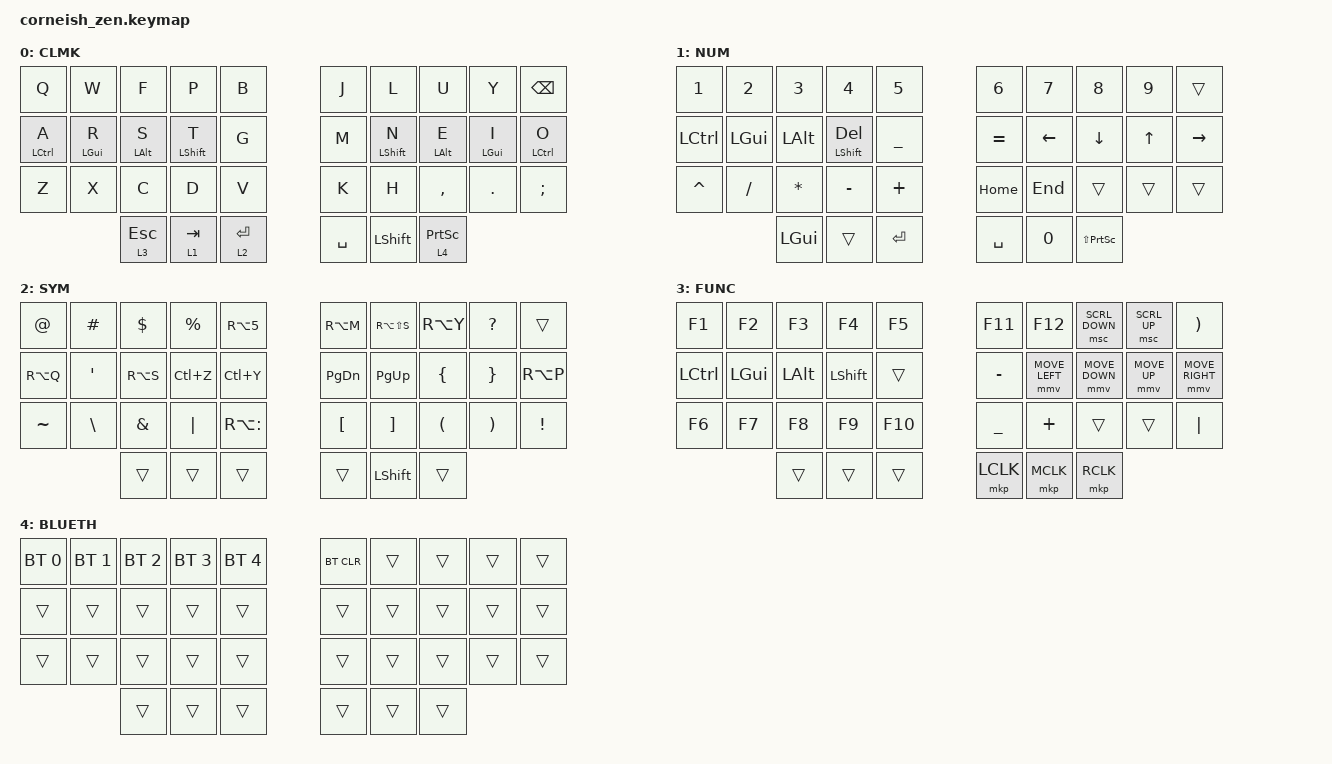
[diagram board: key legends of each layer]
#include <behaviors.dtsi>
#include <dt-bindings/zmk/keys.h>
#include <dt-bindings/zmk/bt.h>
#include <dt-bindings/zmk/pointing.h>

#define COMBO(NAME, BINDINGS, KEYPOS) \
  combo_##NAME { \
    timeout-ms = <50>; \
    bindings = <BINDINGS>; \
    key-positions = <KEYPOS>; \
    layers = <0>; \
  };

/ {
  chosen {
    //zmk,matrix_transform = &default_transform;
    zmk,matrix_transform = &five_column_transform;
  };
};

/ {

	combos {
  		compatible = "zmk,combos";
  
  		COMBO(copy, &kp LC(C), 21 22)
  		COMBO(cut, &kp LC(X), 21 23)
  		COMBO(paste, &kp LC(V), 22 23)
		COMBO(select_all, &kp LC(A), 1 2)
		COMBO(LR_bracket,&kp LBKT &kp RBKT &kp LEFT, 26 27)
		COMBO(LR_brace,&kp LBRC &kp RBRC &kp LEFT, 26 28)
		COMBO(LR_parenthesis,&kp LPAR &kp RPAR &kp LEFT, 27 28)
		};

	behaviors {
		hm: homerow_mods {
		    compatible = "zmk,behavior-hold-tap";
		    label = "HOMEROW_MODS";
		    #binding-cells = <2>;
		    flavor = "tap-preferred";
		    tapping-term-ms = <300>;
		    quick-tap-ms = <0>;		    
		    bindings = <&kp>, <&kp>;
		};

		lthp: layer-tap_hold_preferred {
		    compatible = "zmk,behavior-hold-tap";
		    label = "LAYER_TAP_HOLD_PREFERRED";
		    #binding-cells = <2>;
		    flavor = "hold-preferred";
		    tapping-term-ms = <500>;
		    quick-tap-ms = <125>;
		    bindings = <&mo>, <&kp>;
		};

		ltp: layer-tap_preferred {
		    compatible = "zmk,behavior-hold-tap";
		    label = "LAYER_TAP_PREFERRED";
		    #binding-cells = <2>;
		    flavor = "tap-preferred";
		    tapping-term-ms = <200>;
		    quick-tap-ms = <200>;
		    global-quick-tap;	
		    bindings = <&mo>, <&kp>;
		};

		mtp: mod_tap_preferred {
		    compatible = "zmk,behavior-hold-tap";
		    label = "MOD_TAP_PREFERRED";
		    #binding-cells = <2>;
		    flavor = "tap-preferred";
		    tapping-term-ms = <300>;
		    quick-tap-ms = <200>;
		    global-quick-tap;		    
		    bindings = <&kp>, <&kp>;
		};

	    };
        keymap {
                compatible = "zmk,keymap";

                default_layer {
                        label = "CLMK";
// -----------------------------------------------------------------------------------------
// |  Q  |  W  |  F  |  P  |  B  |   |  J  |  L  |  U  |  Y  | BKSP|
// |  A  |  R  |  S  |  T  |  G  |   |  M  |  N  |  E  |  I  |  O  |
// |  Z  |  X  |  C  |  D  |  V  |   |  K  |  H  |  ,  |  .  | SEMI|
//             |3/ESC|1/TAB|2/RET|   | SPC |LSHFT|4/PSCRN|
                        bindings = <
   &kp       Q &kp      W &kp      F &kp       P &kp B   &kp J &kp       L  &kp      U &kp Y      &kp BSPC
   &hm LCTRL A &hm LGUI R &hm LALT S &hm LSHFT T &kp G   &kp M &hm LSHFT N  &hm LALT E &hm LGUI I &hm LCTRL O
   &kp       Z &kp      X &kp      C &kp       D &kp V   &kp K &kp       H  &kp COMMA  &kp DOT    &kp SEMI
   &lthp 3 ESC &lthp 1 TAB &lthp 2 RET   &kp SPACE &kp LSHFT &ltp 4 PSCRN
                        >;
                };

                first_layer {
                        label = "NUM";
// -----------------------------------------------------------------------------------------
// |  1  |  2  |  3  |  4  |  5  |   |  6  |  7  |  8  |  9  | BKSP|
// |LCTRL| GUI | ALT | DEL |UNDER|   |  =  | LFT | DWN |  UP | RGT |
// |  ^  |  /  |  *  |  -  |  +  |   | HOME| END |  ,  |  .  | SEMI|
//             | GUI |     | RET |   | SPC |  0  |RePSCRN|
                        bindings = <
   &kp N1    &kp N2    &kp N3    &kp N4        &kp N5      &kp N6    &kp N7    &kp N8    &kp N9    &trans
   &kp LCTRL &kp LGUI  &kp LALT  &hm LSHFT DEL &kp UNDER   &kp EQUAL &kp LEFT  &kp DOWN  &kp UP    &kp RIGHT
   &kp CARET &kp SLASH &kp ASTRK &kp MINUS     &kp PLUS    &kp HOME  &kp END   &trans    &trans    &trans
                            &kp LGUI &trans    &kp RET     &kp SPACE &kp N0 &kp LS(PSCRN)
                        >;
                };

                second_layer {
                        label = "SYM";
// -----------------------------------------------------------------------------------------
// |  @  |  #  |  $  |  %   | EURO |   |  mu  | law| Ue  |  ?  | BKSP|
// | Ae  |  "  | SZ  | UNDO | REDO |   |PG_DN|PG_UP|  {  |  }  |  Oe |
// |  ~  |  \  |  &  |  "|" | deg  |   |  [  |  ]  |  (  |  )  |  !  |
//             | ESC |  TAB |      |   | SPC | SHFT |     |
                        bindings = <
   &kp AT    &kp HASH  &kp DLLR  &kp PRCNT &kp RA(N5)     &kp RA(M) &kp RA(LS(S)) &kp RA(Y) &kp QMARK &trans
   &kp RA(Q) &kp APOS  &kp RA(S) &kp LC(Z) &kp LC(Y)      &kp PG_DN &kp PG_UP     &kp LBRC  &kp RBRC  &kp RA(P)
   &kp TILDE  &kp BSLH &kp AMPS  &kp PIPE  &kp RA(COLON)  &kp LBKT  &kp RBKT      &kp LPAR  &kp RPAR  &kp EXCL
                                 &trans &trans &trans  &trans &kp LSHFT &trans
                        >;
                };

                third_layer {
                        label = "FUNC";
// -----------------------------------------------------------------------------------------
// | F1   | F2   |  F3  | F4   | F5   |   | F11 | F12 | F8  |  (  |  )  |     |
// | LCTRL| LGUI | LALT | LSHFT| NONE |   |  -  |  =  |  [  |  ]  |  \  |     |
// | F6   | F7   | F8   | F9    | F10 |   |  _  |  +  |  {  |  }  | "|" |     |
//               |      |  TAB  | RET |   | SPC |     | ALT |
                        bindings = <
   &kp F1    &kp F2    &kp F3    &kp F4    &kp F5      &kp F11   &kp F12        &msc SCRL_DOWN &msc SCRL_UP &kp RPAR
   &kp LCTRL &kp LGUI  &kp LALT  &kp LSHFT &trans      &kp MINUS &mmv MOVE_LEFT &mmv MOVE_DOWN &mmv MOVE_UP &mmv MOVE_RIGHT
   &kp F6    &kp F7    &kp F8    &kp F9    &kp F10     &kp UNDER &kp PLUS       &trans &trans &kp PIPE
                              &trans &trans &trans     &mkp LCLK &mkp MCLK &mkp RCLK
                        >;
                };
                forth_layer {
                        label = "BLUETH";
// -----------------------------------------------------------------------------------------
// |      | BT1 | BT2 | BT3 | BT4 | BT5 |   |BTCLR|     |     |     |     |      |
// |      |     |     |     |     |     |   |     |     |     |     |     |      |
// |      |     |     |     |     |     |   |     |     |     |     |     |      |
//                    |     |     |     |   |     |     |     |
                        bindings = <
   &bt BT_SEL 0 &bt BT_SEL 1 &bt BT_SEL 2 &bt BT_SEL 3 &bt BT_SEL 4   &bt BT_CLR &trans &trans   &trans   &trans
   &trans       &trans       &trans       &trans       &trans         &trans     &trans &trans   &trans   &trans
   &trans       &trans       &trans       &trans       &trans         &trans     &trans &trans   &trans   &trans
                                         &trans &trans &trans         &trans &trans &trans
                        >;
                };
        };
};
